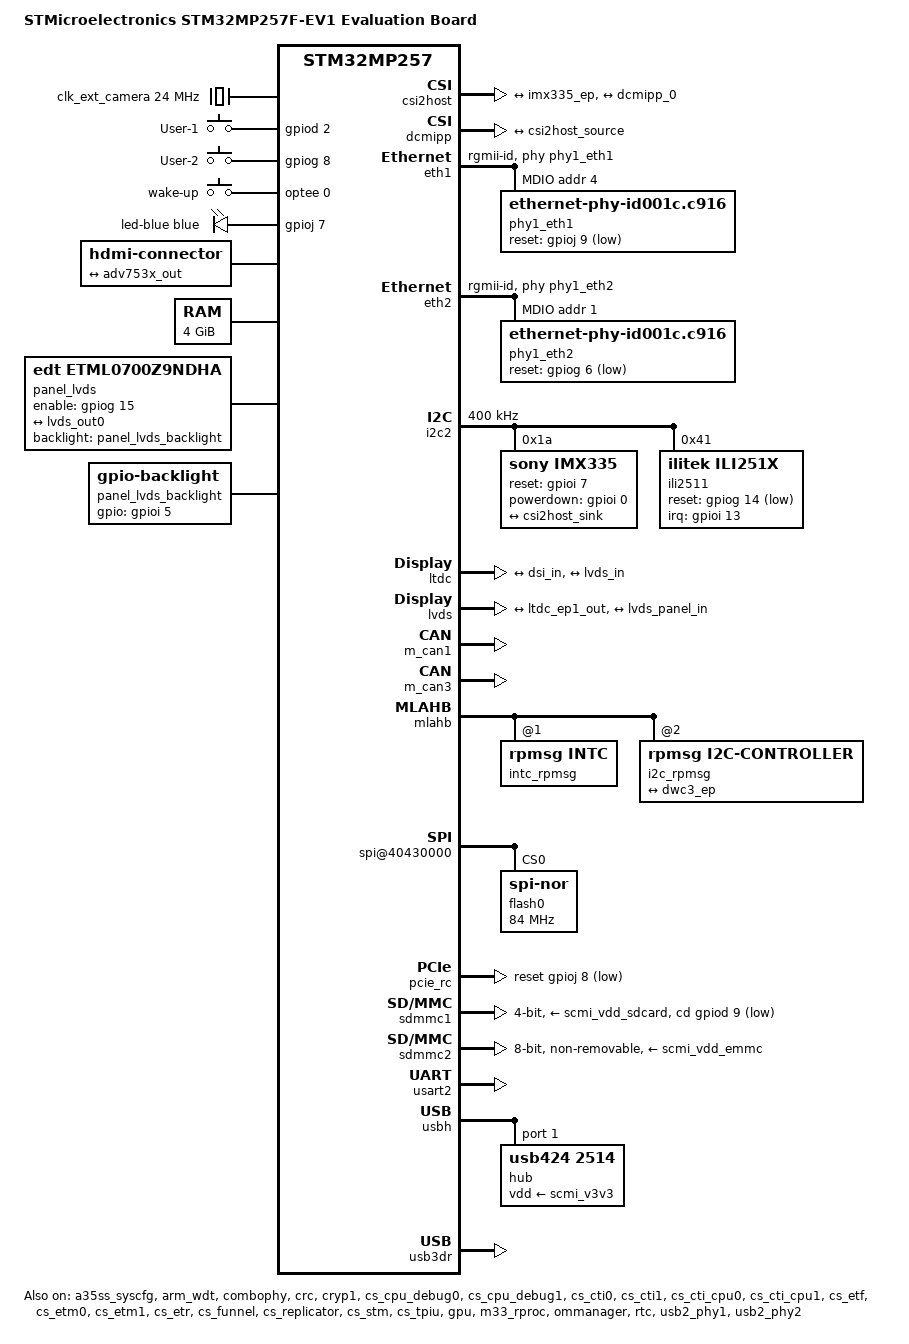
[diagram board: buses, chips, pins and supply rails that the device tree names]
// SPDX-License-Identifier: (GPL-2.0-or-later OR BSD-3-Clause)
/*
 * Copyright (C) STMicroelectronics 2023 - All Rights Reserved
 * Author: Alexandre Torgue <alexandre.torgue@foss.st.com> for STMicroelectronics.
 */

/dts-v1/;

#include <dt-bindings/gpio/gpio.h>
#include <dt-bindings/input/input.h>
#include <dt-bindings/leds/common.h>
#include <dt-bindings/regulator/st,stm32mp25-regulator.h>
#include "stm32mp257.dtsi"
#include "stm32mp25xf.dtsi"
#include "stm32mp25-pinctrl.dtsi"
#include "stm32mp25xxai-pinctrl.dtsi"
#include "stm32mp257f-ev1-ca35tdcid-resmem.dtsi"

/ {
	model = "STMicroelectronics STM32MP257F-EV1 Evaluation Board";
	compatible = "st,stm32mp257f-ev1", "st,stm32mp257";

	aliases {
		ethernet0 = &eth2;
		ethernet1 = &eth1;
		serial0 = &usart2;
		serial1 = &usart6;
		serial2 = &lpuart1;
	};

	chosen {
		stdout-path = "serial0:115200n8";
		#address-cells = <2>;
		#size-cells = <2>;
		ranges;

		framebuffer {
			compatible = "simple-framebuffer";
			clocks = <&rcc CK_BUS_LTDC>, <&rcc CK_KER_LTDC>,
				 <&rcc CK_BUS_LVDS>, <&rcc CK_KER_LVDSPHY>;
			status = "disabled";
		};
	};

	clocks {
		cec_clock: cec-clock {
			compatible = "fixed-clock";
			#clock-cells = <0>;
			clock-frequency = <12000000>;
		};

		clk_ext_camera: clk-ext-camera {
			#clock-cells = <0>;
			compatible = "fixed-clock";
			clock-frequency = <24000000>;
		};

		pad_clk: pad-clk {
			#clock-cells = <0>;
			compatible = "fixed-clock";
			clock-frequency = <100000000>;
		};
	};

	gpio-keys {
		compatible = "gpio-keys";

		button-user-1 {
			label = "User-1";
			linux,code = <BTN_1>;
			gpios = <&gpiod 2 GPIO_ACTIVE_HIGH>;
			status = "okay";
		};

		button-user-2 {
			label = "User-2";
			linux,code = <BTN_2>;
			gpios = <&gpiog 8 GPIO_ACTIVE_HIGH>;
			status = "okay";
		};

		button-wake-up {
			label = "wake-up";
			linux,code = <KEY_WAKEUP>;
			interrupts-extended = <&optee 0>;
			status = "okay";
		};
	};

	gpio-leds {
		compatible = "gpio-leds";

		led-blue {
			function = LED_FUNCTION_HEARTBEAT;
			color = <LED_COLOR_ID_BLUE>;
			gpios = <&gpioj 7 GPIO_ACTIVE_HIGH>;
			linux,default-trigger = "heartbeat";
			default-state = "off";
		};
	};

	hdmi: connector {
		compatible = "hdmi-connector";
		label = "hdmi";
		type = "a";

		port {
			hdmi_connector_in: endpoint {
				remote-endpoint = <&adv753x_out>;
			};
		};
	};

	memory@80000000 {
		device_type = "memory";
		reg = <0x0 0x80000000 0x1 0x0>;
	};

	panel_lvds: panel-lvds {
		compatible = "edt,etml0700z9ndha", "panel-lvds";
		enable-gpios = <&gpiog 15 GPIO_ACTIVE_HIGH>;
		backlight = <&panel_lvds_backlight>;
		status = "okay";

		width-mm = <156>;
		height-mm = <92>;
		data-mapping = "vesa-24";

		panel-timing {
			clock-frequency = <54000000>;
			hactive = <1024>;
			vactive = <600>;
			hfront-porch = <150>;
			hback-porch = <150>;
			hsync-len = <21>;
			vfront-porch = <24>;
			vback-porch = <24>;
			vsync-len = <21>;
		};

		port {
			lvds_panel_in: endpoint {
				remote-endpoint = <&lvds_out0>;
			};
		};
	};

	panel_lvds_backlight: panel-lvds-backlight {
		compatible = "gpio-backlight";
		gpios = <&gpioi 5 GPIO_ACTIVE_HIGH>;
		default-on;
		default-brightness-level = <1>;
		status = "okay";
	};

	sound: sound {
		compatible = "audio-graph-card";
		label = "STM32MP25-EV1";
		dais = <&i2s2_port>;
		status = "disabled";
	};
};

&a35ss_syscfg {
	status = "okay";
};

&arm_wdt {
	timeout-sec = <32>;
	status = "okay";
};

&combophy {
	clocks = <&rcc CK_BUS_USB3PCIEPHY>, <&rcc CK_KER_USB3PCIEPHY>, <&pad_clk>;
	clock-names = "apb-clk", "ker-clk", "pad-clk";
	st,rx_equalizer = <1>;
	status = "okay";
};

&crc {
	status = "okay";
};

&cryp1 {
	status = "okay";
};

&cs_cpu_debug0 {
	status = "okay";
};

&cs_cpu_debug1 {
	status = "okay";
};

&cs_cti0 {
	status = "okay";
};

&cs_cti1 {
	status = "okay";
};

&cs_cti_cpu0 {
	status = "okay";
};

&cs_cti_cpu1 {
	status = "okay";
};

&cs_etf {
	status = "okay";
};

&cs_etm0 {
	status = "okay";
};

&cs_etm1 {
	status = "okay";
};

&cs_etr {
	status = "okay";
};

&cs_funnel {
	status = "okay";
};

&cs_replicator {
	status = "okay";
};

&cs_stm {
	status = "okay";
};

&cs_tpiu {
	status = "okay";
};

&csi2host {
	vdd-supply =  <&scmi_vddcore>;
	vdda18-supply = <&scmi_v1v8>;
	status = "okay";
	ports {
		#address-cells = <1>;
		#size-cells = <0>;
		port@0 {
			reg = <0>;
			csi2host_sink: endpoint {
				remote-endpoint = <&imx335_ep>;
				data-lanes = <0 1>;
				bus-type = <4>;
			};
		};
		port@1 {
			reg = <1>;
			csi2host_source: endpoint {
				remote-endpoint = <&dcmipp_0>;
			};
		};
	};
};

&dcmipp {
	status = "okay";
	port {
		dcmipp_0: endpoint {
			remote-endpoint = <&csi2host_source>;
			bus-type = <4>;
		};
	};
};

&dsi {
	vdd-supply =  <&scmi_vddcore>;
	vdda18-supply = <&scmi_v1v8>;
	status = "disabled";

	ports {
		#address-cells = <1>;
		#size-cells = <0>;

		port@0 {
			reg = <0>;
			dsi_in: endpoint {
				remote-endpoint = <&ltdc_ep0_out>;
			};
		};

		port@1 {
			reg = <1>;
			dsi_out1: endpoint {
				remote-endpoint = <&adv753x_in>;
			};
		};
	};
};

&eth1 {
	status = "okay";
	pinctrl-0 = <&eth1_rgmii_pins_a &eth1_mdio_pins_a>;
	pinctrl-1 = <&eth1_rgmii_sleep_pins_a &eth1_mdio_sleep_pins_a>;
	pinctrl-names = "default", "sleep";
	phy-mode = "rgmii-id";
	max-speed = <1000>;
	phy-handle = <&phy1_eth1>;
	st,eth-clk-sel;
	snps,ext-systime;

	mdio1 {
		#address-cells = <1>;
		#size-cells = <0>;
		compatible = "snps,dwmac-mdio";
		phy1_eth1: ethernet-phy@4 {
			compatible = "ethernet-phy-id001c.c916";
			reset-gpios =  <&gpioj 9 GPIO_ACTIVE_LOW>;
			reset-assert-us = <10000>;
			reset-deassert-us = <80000>;
			realtek,eee-disable;
			reg = <4>;
		};
	};
};

&eth2 {
	status = "okay";
	pinctrl-0 = <&eth2_rgmii_pins_a>;
	pinctrl-1 = <&eth2_rgmii_sleep_pins_a>;
	pinctrl-names = "default", "sleep";
	phy-mode = "rgmii-id";
	max-speed = <1000>;
	phy-handle = <&phy1_eth2>;
	st,eth-ptp-from-rcc;

	mdio1 {
		#address-cells = <1>;
		#size-cells = <0>;
		compatible = "snps,dwmac-mdio";
		phy1_eth2: ethernet-phy@1 {
			compatible = "ethernet-phy-id001c.c916";
			reset-gpios =  <&gpiog 6 GPIO_ACTIVE_LOW>;
			reset-assert-us = <10000>;
			reset-deassert-us = <80000>;
			realtek,eee-disable;
			reg = <1>;
		};
	};
};

&gpu {
	contiguous-area = <&gpu_reserved>;
	status = "okay";
};

&hpdma {
	memory-region = <&hpdma1_lli>;
};

&hpdma2 {
	memory-region = <&hpdma2_lli>;
};

&hpdma3 {
	memory-region = <&hpdma3_lli>;
};

&i2c2 {
	pinctrl-names = "default", "sleep";
	pinctrl-0 = <&i2c2_pins_a>;
	pinctrl-1 = <&i2c2_sleep_pins_a>;
	i2c-scl-rising-time-ns = <100>;
	i2c-scl-falling-time-ns = <13>;
	clock-frequency = <400000>;
	status = "okay";
	/* spare dmas for other usage */
	/delete-property/dmas;
	/delete-property/dma-names;

	imx335: imx335@1a {
		compatible = "sony,imx335";
		reg = <0x1a>;
		clocks = <&clk_ext_camera>;
		reset-gpios = <&gpioi 7 (GPIO_ACTIVE_HIGH | GPIO_PUSH_PULL)>;
		powerdown-gpios = <&gpioi 0 (GPIO_ACTIVE_HIGH | GPIO_PUSH_PULL)>;
		status = "okay";

		port {
			imx335_ep: endpoint {
				remote-endpoint = <&csi2host_sink>;
				clock-lanes = <0>;
				data-lanes = <1 2>;
				link-frequencies = /bits/ 64 <594000000>;
			};
		};
	};

	adv753x: hdmi@3d {
		/*
		 * With MB1232 board, use "adi,adv7533" (1080p30)
		 * With MB1752 board, use "adi,adv7535" (1080p60)
		 */
		compatible = "adi,adv7533";
		reg = <0x3d>, <0x3c>, <0x3f>, <0x38>;
		reg-names = "main", "cec", "edid", "packet";
		clocks = <&cec_clock>;
		clock-names = "cec";
		interrupt-parent = <&gpiod>;
		interrupts = <10 IRQ_TYPE_EDGE_FALLING>;
		status = "disabled";
		adi,dsi-lanes = <4>;
		reset-gpios = <&gpiog 14 GPIO_ACTIVE_LOW>;
		avdd-supply = <&scmi_v1v8>;
		dvdd-supply = <&scmi_v1v8>;
		pvdd-supply = <&scmi_v1v8>;
		a2vdd-supply = <&scmi_v1v8>;
		v3p3-supply = <&scmi_v3v3>;
		v1p2-supply = <&scmi_v1v8>;

		ports {
			#address-cells = <1>;
			#size-cells = <0>;

			port@0 {
				reg = <0>;
				adv753x_in: endpoint {
					remote-endpoint = <&dsi_out1>;
				};
			};

			port@1 {
				reg = <1>;
				adv753x_out: endpoint {
					remote-endpoint = <&hdmi_connector_in>;
				};
			};

			port@2 {
				reg = <2>;
				adv753x_tx_endpoint: endpoint {
					remote-endpoint = <&i2s2_endpoint>;
				};
			};
		};
	};

	ili2511: ili2511@41 {
		compatible = "ilitek,ili251x";
		reg = <0x41>;
		interrupt-parent = <&gpioi>;
		interrupts = <13 IRQ_TYPE_EDGE_FALLING>;
		reset-gpios = <&gpiog 14 GPIO_ACTIVE_LOW>;
		status = "okay";
	};
};

&i2c8 {
	pinctrl-names = "default", "sleep";
	pinctrl-0 = <&i2c8_pins_a>;
	pinctrl-1 = <&i2c8_sleep_pins_a>;
	i2c-scl-rising-time-ns = <57>;
	i2c-scl-falling-time-ns = <7>;
	clock-frequency = <400000>;
	status = "disabled";
	/* spare dmas for other usage */
	/delete-property/dmas;
	/delete-property/dma-names;
};

&i2s2 {
	pinctrl-names = "default", "sleep";
	pinctrl-0 = <&i2s2_pins_a>;
	pinctrl-1 = <&i2s2_sleep_pins_a>;
	status = "disabled";

	i2s2_port: port {
		i2s2_endpoint: endpoint {
			remote-endpoint = <&adv753x_tx_endpoint>;
			format = "i2s";
			mclk-fs = <256>;
		};
	};
};

&ipcc1 {
	status = "okay";
};

&lpuart1 {
	pinctrl-names = "default", "idle", "sleep";
	pinctrl-0 = <&lpuart1_pins_a>;
	pinctrl-1 = <&lpuart1_idle_pins_a>;
	pinctrl-2 = <&lpuart1_sleep_pins_a>;
	/delete-property/dmas;
	/delete-property/dma-names;
	wakeup-source;
	uart-has-rtscts;
	status = "disabled";
};

&ltdc {
	default-on;
	rotation-memory = <&ltdc_sec_rotation>;
	status = "okay";

	port {
		#address-cells = <1>;
		#size-cells = <0>;

		ltdc_ep0_out: endpoint@0 {
			reg = <0>;
			remote-endpoint = <&dsi_in>;
		};

		ltdc_ep1_out: endpoint@1 {
			reg = <1>;
			remote-endpoint = <&lvds_in>;
		};
	};
};

&lvds {
	default-on;
	vdd-supply =  <&scmi_vddcore>;
	vdda18-supply = <&scmi_v1v8>;
	status = "okay";

	ports {
		#address-cells = <1>;
		#size-cells = <0>;

		port@0 {
			reg = <0>;
			lvds_in: endpoint {
				remote-endpoint = <&ltdc_ep1_out>;
			};
		};

		port@1 {
			reg = <1>;
			lvds_out0: endpoint {
				remote-endpoint = <&lvds_panel_in>;
			};
		};
	};
};

&m33_rproc {
	mboxes = <&ipcc1 0x100>, <&ipcc1 0x101>, <&ipcc1 2>;
	mbox-names = "vq0", "vq1", "shutdown";
	memory-region = <&cm33_cube_fw>, <&cm33_cube_data>,
			<&ipc_shmem_1>, <&vdev0vring0>,
			<&vdev0vring1>, <&vdev0buffer>,
			<&cm33_sram2>;
	st,syscfg-nsvtor = <&a35ss_syscfg 0xa8 0xffffff80>;
	status = "okay";
};

&m_can1 {
	pinctrl-names = "default", "sleep";
	pinctrl-0 = <&m_can1_pins_a>;
	pinctrl-1 = <&m_can1_sleep_pins_a>;
	status = "okay";
};

&m_can3 {
	pinctrl-names = "default", "sleep";
	pinctrl-0 = <&m_can3_pins_a>;
	pinctrl-1 = <&m_can3_sleep_pins_a>;
	status = "okay";
};

&mlahb {
	intc_rpmsg: interrupt-controller@1 {
		compatible = "rpmsg,intc";
		reg = <1 0>;
		#interrupt-cells = <1>;
		interrupt-controller;
	};

	i2c_rpmsg: i2c@2 {
		compatible = "rpmsg,i2c-controller";
		reg = <2 0>;
		rpmsg,dev-id = "rpmsg_i2c";
		#address-cells = <1>;
		#size-cells = <0>;
		status = "okay";

		typec@35 {
			compatible = "st,stm32mp25-typec";
			reg = <0x35>;
			interrupts-extended = <&intc_rpmsg 0>;
			status = "okay";
			connector {
				compatible = "usb-c-connector";
				label = "USB-C";

				port {
					typec_ep: endpoint {
						remote-endpoint = <&dwc3_ep>;
					};
				};
			};
		};
	};
};

&ommanager {
	memory-region = <&mm_ospi1>;
	memory-region-names = "mm_ospi1";
	pinctrl-names = "default", "sleep";
	pinctrl-0 = <&ospi_port1_clk_pins_a
		     &ospi_port1_io03_pins_a
		     &ospi_port1_cs0_pins_a>;
	pinctrl-1 = <&ospi_port1_clk_sleep_pins_a
		     &ospi_port1_io03_sleep_pins_a
		     &ospi_port1_cs0_sleep_pins_a>;
	status = "okay";

	spi@40430000 {
		#address-cells = <1>;
		#size-cells = <0>;
		memory-region = <&mm_ospi1>;
		status = "okay";

		flash0: flash@0 {
			compatible = "jedec,spi-nor";
			reg = <0>;
			spi-rx-bus-width = <4>;
			spi-tx-bus-width = <4>;
			spi-max-frequency = <84000000>;
		};
	};
};

&pcie_ep {
	pinctrl-names = "default", "init";
	pinctrl-0 = <&pcie_pins_a>;
	pinctrl-1 = <&pcie_init_pins_a>;
	reset-gpios = <&gpioj 8 GPIO_ACTIVE_LOW>;
	status = "disabled";
};

&pcie_rc {
	pinctrl-names = "default", "init", "sleep";
	pinctrl-0 = <&pcie_pins_a>;
	pinctrl-1 = <&pcie_init_pins_a>;
	pinctrl-2 = <&pcie_sleep_pins_a>;
	reset-gpios = <&gpioj 8 GPIO_ACTIVE_LOW>;
	wakeup-source;
	wake-gpios = <&gpioh 5 (GPIO_ACTIVE_LOW | GPIO_PULL_UP)>;
	status = "okay";
};

&rtc {
	status = "okay";
};

&scmi_regu {
	scmi_vddio1: regulator@0 {
		regulator-min-microvolt = <1800000>;
		regulator-max-microvolt = <3300000>;
	};
	scmi_vddcore: regulator@11  {
		reg = <VOLTD_SCMI_STPMIC2_BUCK2>;
		regulator-name = "vddcore";
	};
	scmi_v1v8: regulator@14  {
		reg = <VOLTD_SCMI_STPMIC2_BUCK5>;
		regulator-name = "v1v8";
	};
	scmi_v3v3: regulator@16 {
		reg = <VOLTD_SCMI_STPMIC2_BUCK7>;
		regulator-name = "v3v3";
	};
	scmi_vdd_emmc: regulator@18 {
		reg = <VOLTD_SCMI_STPMIC2_LDO2>;
		regulator-name = "vdd_emmc";
	};
	scmi_vdd3v3_usb: regulator@20 {
		reg = <VOLTD_SCMI_STPMIC2_LDO4>;
		regulator-name = "vdd3v3_usb";
	};
	scmi_vdd_sdcard: regulator@23 {
		reg = <VOLTD_SCMI_STPMIC2_LDO7>;
		regulator-name = "vdd_sdcard";
	};
};

&sdmmc1 {
	pinctrl-names = "default", "opendrain", "sleep";
	pinctrl-0 = <&sdmmc1_b4_pins_a>;
	pinctrl-1 = <&sdmmc1_b4_od_pins_a>;
	pinctrl-2 = <&sdmmc1_b4_sleep_pins_a>;
	cd-gpios = <&gpiod 9 (GPIO_ACTIVE_LOW | GPIO_PULL_UP)>;
	disable-wp;
	st,neg-edge;
	bus-width = <4>;
	vmmc-supply = <&scmi_vdd_sdcard>;
	vqmmc-supply = <&scmi_vddio1>;
	sd-uhs-sdr12;
	sd-uhs-sdr25;
	sd-uhs-sdr50;
	sd-uhs-ddr50;
	sd-uhs-sdr104;
	status = "okay";
};

&sdmmc2 {
	pinctrl-names = "default", "opendrain", "sleep";
	pinctrl-0 = <&sdmmc2_b4_pins_a &sdmmc2_d47_pins_a>;
	pinctrl-1 = <&sdmmc2_b4_od_pins_a &sdmmc2_d47_pins_a>;
	pinctrl-2 = <&sdmmc2_b4_sleep_pins_a &sdmmc2_d47_sleep_pins_a>;
	non-removable;
	no-sd;
	no-sdio;
	st,neg-edge;
	bus-width = <8>;
	vmmc-supply = <&scmi_vdd_emmc>;
	vqmmc-supply = <&scmi_vddio2>;
	mmc-ddr-1_8v;
	mmc-hs200-1_8v;
	status = "okay";
};

&sdmmc3 {
	pinctrl-names = "default", "opendrain", "sleep";
	pinctrl-0 = <&sdmmc3_b4_pins_a>;
	pinctrl-1 = <&sdmmc3_b4_od_pins_a>;
	pinctrl-2 = <&sdmmc3_b4_sleep_pins_a>;
	broken-cd;
	disable-wp;
	st,neg-edge;
	bus-width = <4>;
	vmmc-supply = <&scmi_v3v3>;
	status = "disabled";
};

&spi3 {
	pinctrl-names = "default", "sleep";
	pinctrl-0 = <&spi3_pins_a>;
	pinctrl-1 = <&spi3_sleep_pins_a>;
	status = "disabled";
};

&spi8 {
	pinctrl-names = "default", "sleep";
	pinctrl-0 = <&spi8_pins_a>;
	pinctrl-1 = <&spi8_sleep_pins_a>;
	status = "disabled";
};

&switch0 {
	status = "disabled";
	pinctrl-0 = <&eth1_rgmii_pins_a>, <&eth3_rgmii_pins_a>;
	pinctrl-1 = <&eth1_rgmii_sleep_pins_a>, <&eth3_rgmii_sleep_pins_a>;
	pinctrl-names = "default", "sleep";
	phy-mode = "rgmii";
	st,ethsw-internal-125;
};

&usart2 {
	pinctrl-names = "default", "idle", "sleep";
	pinctrl-0 = <&usart2_pins_a>;
	pinctrl-1 = <&usart2_idle_pins_a>;
	pinctrl-2 = <&usart2_sleep_pins_a>;
	/delete-property/dmas;
	/delete-property/dma-names;
	status = "okay";
};

&usart6 {
	pinctrl-names = "default", "idle", "sleep";
	pinctrl-0 = <&usart6_pins_a>;
	pinctrl-1 = <&usart6_idle_pins_a>;
	pinctrl-2 = <&usart6_sleep_pins_a>;
	uart-has-rtscts;
	status = "disabled";
};

&usb2_phy1 {
	vdd33-supply = <&scmi_vdd3v3_usb>;
	status = "okay";
};

&usb2_phy2 {
	vdd33-supply = <&scmi_vdd3v3_usb>;
	status = "okay";
};

&usbh {
	status = "okay";

	usbh_ehci: usb@482f0000 {
		#address-cells = <1>;
		#size-cells = <0>;
		/* onboard HUB */
		hub@1 {
			compatible = "usb424,2514";
			reg = <1>;
			vdd-supply = <&scmi_v3v3>;
		};
	};

	usbh_ohci: usb@482e0000 {
		status = "disabled";
	};
};

&usb3dr {
	status = "okay";

	dwc3: usb@48300000 {
		maximum-speed = "high-speed";
		usb-role-switch;
		port {
			dwc3_ep: endpoint {
				remote-endpoint = <&typec_ep>;
			};
		};
	};
};
